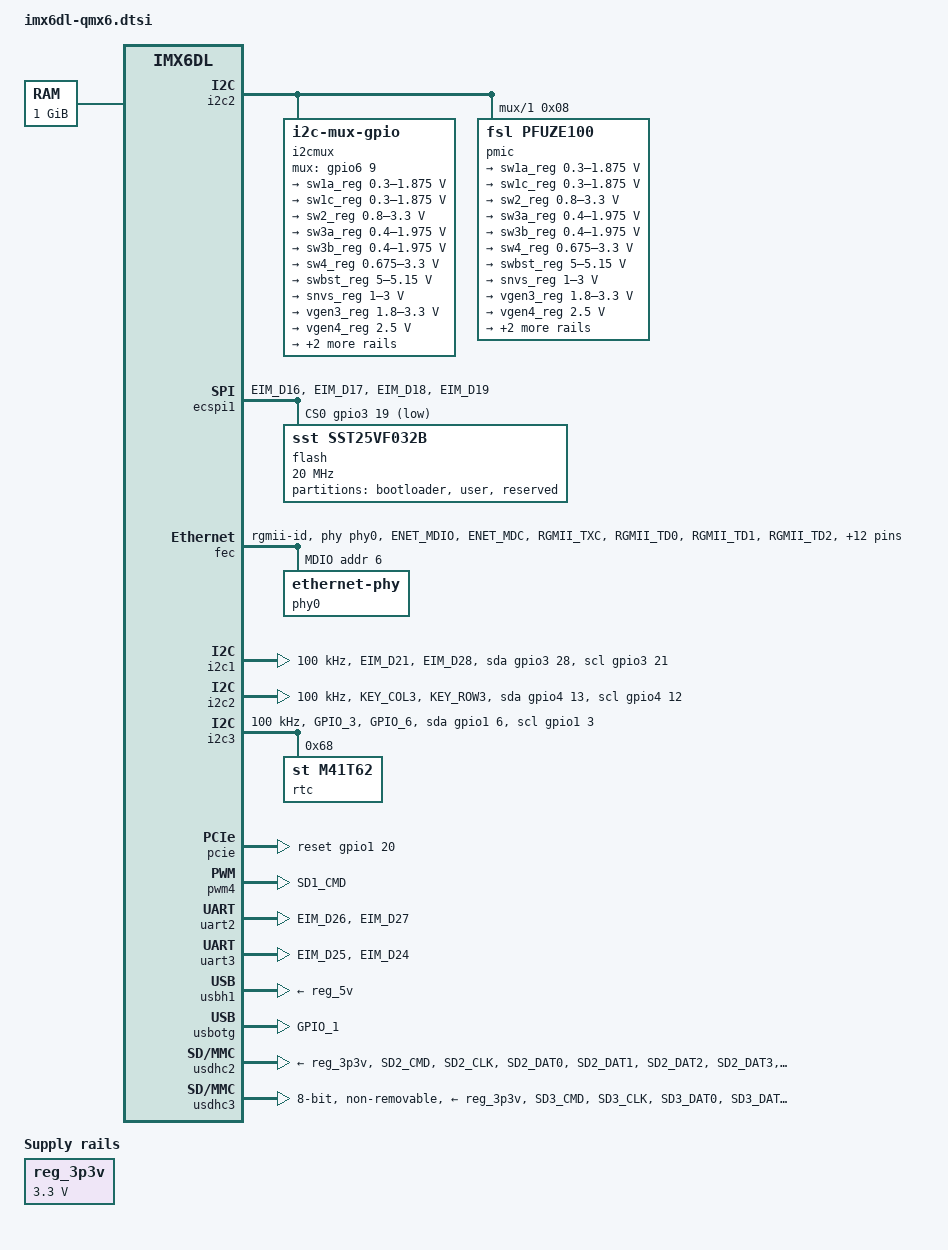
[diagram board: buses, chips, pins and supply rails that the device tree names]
// SPDX-License-Identifier: GPL-2.0 OR MIT
//
// Device Tree Source for i.MX6DL based congatec QMX6
// System on Module
//
// Copyright 2018-2021 General Electric Company
// Copyright 2018-2021 Collabora
// Copyright 2016 congatec AG

#include "imx6dl.dtsi"
#include <dt-bindings/gpio/gpio.h>
#include <dt-bindings/sound/fsl-imx-audmux.h>

/ {
	memory@10000000 {
		reg = <0x10000000 0x40000000>;
	};

	reg_3p3v: 3p3v {
		compatible = "regulator-fixed";
		regulator-name = "3P3V";
		regulator-min-microvolt = <3300000>;
		regulator-max-microvolt = <3300000>;
	};

	i2cmux {
		compatible = "i2c-mux-gpio";
		#address-cells = <1>;
		#size-cells = <0>;
		mux-gpios = <&gpio6 9 GPIO_ACTIVE_HIGH>;
		i2c-parent = <&i2c2>;

		i2c5: i2c@0 {
			reg = <0>;
			#address-cells = <1>;
			#size-cells = <0>;
		};

		i2c6: i2c@1 {
			reg = <1>;
			#address-cells = <1>;
			#size-cells = <0>;
		};
	};
};

&audmux {
	pinctrl-names = "default";
	pinctrl-0 = <&pinctrl_audmux>;

	mux-ssi1 {
		fsl,audmux-port = <MX51_AUDMUX_PORT1_SSI0>;
		fsl,port-config = <
			(IMX_AUDMUX_V2_PTCR_TFSDIR |
			IMX_AUDMUX_V2_PTCR_TFSEL(MX51_AUDMUX_PORT6) |
			IMX_AUDMUX_V2_PTCR_TCLKDIR |
			IMX_AUDMUX_V2_PTCR_TCSEL(MX51_AUDMUX_PORT6) |
			IMX_AUDMUX_V2_PTCR_SYN)
			IMX_AUDMUX_V2_PDCR_RXDSEL(MX51_AUDMUX_PORT6)
		>;
	};

	mux-aud6 {
		fsl,audmux-port = <MX51_AUDMUX_PORT6>;
		fsl,port-config = <
			IMX_AUDMUX_V2_PTCR_SYN
			IMX_AUDMUX_V2_PDCR_RXDSEL(MX51_AUDMUX_PORT1_SSI0)
		>;
	};
};

&clks {
	clocks = <&rtc_sqw>;
	clock-names = "ckil";
	assigned-clocks = <&clks IMX6QDL_CLK_LDB_DI0_SEL>,
			  <&clks IMX6QDL_CLK_LDB_DI1_SEL>;
	assigned-clock-parents = <&clks IMX6QDL_CLK_PLL2_PFD0_352M>,
				 <&clks IMX6QDL_CLK_PLL2_PFD0_352M>;
};

&ecspi1 {
	cs-gpios = <&gpio3 19 GPIO_ACTIVE_LOW>;
	pinctrl-names = "default";
	pinctrl-0 = <&pinctrl_spi1>;
	status = "okay";

	flash@0 {
		#address-cells = <1>;
		#size-cells = <1>;
		compatible = "sst,sst25vf032b", "jedec,spi-nor";
		spi-max-frequency = <20000000>;
		reg = <0>;

		partition@0 {
			label = "bootloader";
			reg = <0x0000000 0x100000>;
		};

		partition@100000 {
			label = "user";
			reg = <0x0100000 0x2fc000>;
		};

		partition@3fc000 {
			label = "reserved";
			reg = <0x03fc000 0x4000>;
			read-only;
		};
	};
};

&fec {
	pinctrl-names = "default";
	pinctrl-0 = <&pinctrl_enet &pinctrl_phy_reset>;
	phy-mode = "rgmii-id";
	phy-reset-gpios = <&gpio3 23 GPIO_ACTIVE_LOW>;
	fsl,magic-packet;
	phy-handle = <&phy0>;

	mdio {
		#address-cells = <1>;
		#size-cells = <0>;

		phy0: ethernet-phy@6 {
			reg = <6>;
			qca,clk-out-frequency = <125000000>;
		};
	};
};

&i2c1 {
	clock-frequency = <100000>;
	pinctrl-names = "default", "gpio";
	pinctrl-0 = <&pinctrl_i2c1>;
	pinctrl-1 = <&pinctrl_i2c1_gpio>;
	scl-gpios = <&gpio3 21 (GPIO_ACTIVE_HIGH | GPIO_OPEN_DRAIN)>;
	sda-gpios = <&gpio3 28 (GPIO_ACTIVE_HIGH | GPIO_OPEN_DRAIN)>;
	status = "okay";
};

&i2c2 {
	clock-frequency = <100000>;
	pinctrl-names = "default", "gpio";
	pinctrl-0 = <&pinctrl_i2c2>;
	pinctrl-1 = <&pinctrl_i2c2_gpio>;
	scl-gpios = <&gpio4 12 (GPIO_ACTIVE_HIGH | GPIO_OPEN_DRAIN)>;
	sda-gpios = <&gpio4 13 (GPIO_ACTIVE_HIGH | GPIO_OPEN_DRAIN)>;
	status = "okay";
};

&i2c3 {
	clock-frequency = <100000>;
	pinctrl-names = "default", "gpio";
	pinctrl-0 = <&pinctrl_i2c3>;
	pinctrl-1 = <&pinctrl_i2c3_gpio>;
	scl-gpios = <&gpio1 3 (GPIO_ACTIVE_HIGH | GPIO_OPEN_DRAIN)>;
	sda-gpios = <&gpio1 6 (GPIO_ACTIVE_HIGH | GPIO_OPEN_DRAIN)>;
	status = "okay";

	rtc: m41t62@68 {
		compatible = "st,m41t62";
		reg = <0x68>;

		rtc_sqw: clock {
			compatible = "fixed-clock";
			#clock-cells = <0>;
			clock-frequency = <32768>;
		};
	};
};

&i2c6 {
	pmic@8 {
		compatible = "fsl,pfuze100";
		reg = <0x08>;

		regulators {
			sw1a_reg: sw1ab {
				regulator-min-microvolt = <300000>;
				regulator-max-microvolt = <1875000>;
				regulator-boot-on;
				regulator-always-on;
				regulator-ramp-delay = <6250>;
			};

			sw1c_reg: sw1c {
				regulator-min-microvolt = <300000>;
				regulator-max-microvolt = <1875000>;
				regulator-boot-on;
				regulator-always-on;
				regulator-ramp-delay = <6250>;
			};

			sw2_reg: sw2 {
				regulator-min-microvolt = <800000>;
				regulator-max-microvolt = <3300000>;
				regulator-boot-on;
				regulator-always-on;
			};

			sw3a_reg: sw3a {
				regulator-min-microvolt = <400000>;
				regulator-max-microvolt = <1975000>;
				regulator-boot-on;
				regulator-always-on;
			};

			sw3b_reg: sw3b {
				regulator-min-microvolt = <400000>;
				regulator-max-microvolt = <1975000>;
				regulator-boot-on;
				regulator-always-on;
			};

			sw4_reg: sw4 {
				regulator-min-microvolt = <675000>;
				regulator-max-microvolt = <3300000>;
				regulator-boot-on;
				regulator-always-on;
			};

			swbst_reg: swbst {
				regulator-min-microvolt = <5000000>;
				regulator-max-microvolt = <5150000>;
			};

			snvs_reg: vsnvs {
				regulator-min-microvolt = <1000000>;
				regulator-max-microvolt = <3000000>;
				regulator-boot-on;
				regulator-always-on;
			};

			vref_reg: vrefddr {
				regulator-boot-on;
				regulator-always-on;
			};

			/*
			 * keep VGEN3, VGEN4 and VGEN5 enabled in order to
			 * maintain backward compatibility with hw-rev. A.0
			 */
			vgen3_reg: vgen3 {
				regulator-min-microvolt = <1800000>;
				regulator-max-microvolt = <3300000>;
				regulator-always-on;
			};

			vgen4_reg: vgen4 {
				regulator-min-microvolt = <2500000>;
				regulator-max-microvolt = <2500000>;
				regulator-always-on;
			};

			vgen5_reg: vgen5 {
				regulator-min-microvolt = <1800000>;
				regulator-max-microvolt = <3300000>;
				regulator-always-on;
			};

			/* supply voltage for eMMC */
			vgen6_reg: vgen6 {
				regulator-min-microvolt = <1800000>;
				regulator-max-microvolt = <1800000>;
				regulator-boot-on;
				regulator-always-on;
			};
		};
	};
};

&pcie {
	reset-gpio = <&gpio1 20 0>;
};

&pwm4 {
	pinctrl-names = "default";
	pinctrl-0 = <&pinctrl_pwm4>;
};

&reg_arm {
	vin-supply = <&sw1a_reg>;
};

&reg_pu {
	vin-supply = <&sw1c_reg>;
};

&reg_soc {
	vin-supply = <&sw1c_reg>;
};

&snvs_poweroff {
	status = "okay";
};

&uart2 {
	pinctrl-names = "default";
	pinctrl-0 = <&pinctrl_uart2>;
	status = "okay";
};

&uart3 {
	pinctrl-names = "default";
	pinctrl-0 = <&pinctrl_uart3>;
	status = "okay";
};

&usbh1 {
	/* Connected to USB-Hub SMSC USB2514, provides P0, P2, P3, P4 on Qseven connector */
	vbus-supply = <&reg_5v>;
	status = "okay";
};

&usbotg {
	pinctrl-names = "default";
	pinctrl-0 = <&pinctrl_usbotg>;
};

&usdhc2 {
	/* MicroSD card slot */
	pinctrl-names = "default";
	pinctrl-0 = <&pinctrl_usdhc2>;
	cd-gpios = <&gpio1 4 GPIO_ACTIVE_LOW>;
	no-1-8-v;
	keep-power-in-suspend;
	wakeup-source;
	vmmc-supply = <&reg_3p3v>;
	status = "okay";
};

&usdhc3 {
	/* eMMC module */
	pinctrl-names = "default";
	pinctrl-0 = <&pinctrl_usdhc3>;
	non-removable;
	bus-width = <8>;
	no-1-8-v;
	keep-power-in-suspend;
	wakeup-source;
	vmmc-supply = <&reg_3p3v>;
	status = "okay";
};

&wdog1 {
	pinctrl-names = "default";
	pinctrl-0 = <&pinctrl_wdog>;
	fsl,ext-reset-output;
};

&iomuxc {
	pinctrl-names = "default";
	pinctrl-0 = <&pinctrl_hog>;

	qmx6mux: imx6qdl-qmx6 {
		pinctrl_audmux: audmuxgrp {
			fsl,pins = <
				MX6QDL_PAD_DI0_PIN2__AUD6_TXD		0x110b0 /* Q7[67] HDA_SDO */
				MX6QDL_PAD_DI0_PIN3__AUD6_TXFS		0x30b0 /* Q7[59] HDA_SYNC */
				MX6QDL_PAD_DI0_PIN4__AUD6_RXD		0x30b0 /* Q7[65] HDA_SDI */
				MX6QDL_PAD_DI0_PIN15__AUD6_TXC		0x30b0 /* Q7[63] HDA_BITCLK */
			>;
		};

		/* PHY is on System on Module, Q7[3-15] have Ethernet lines */
		pinctrl_enet: enet {
			fsl,pins = <
				MX6QDL_PAD_ENET_MDIO__ENET_MDIO		0x1b0b0
				MX6QDL_PAD_ENET_MDC__ENET_MDC		0x1b0b0
				MX6QDL_PAD_RGMII_TXC__RGMII_TXC		0x1b030
				MX6QDL_PAD_RGMII_TD0__RGMII_TD0		0x1b030
				MX6QDL_PAD_RGMII_TD1__RGMII_TD1		0x1b030
				MX6QDL_PAD_RGMII_TD2__RGMII_TD2		0x1b030
				MX6QDL_PAD_RGMII_TD3__RGMII_TD3		0x1b030
				MX6QDL_PAD_RGMII_TX_CTL__RGMII_TX_CTL	0x1b030
				MX6QDL_PAD_ENET_REF_CLK__ENET_TX_CLK	0x1b0b0
				MX6QDL_PAD_RGMII_RXC__RGMII_RXC		0x1b030
				MX6QDL_PAD_RGMII_RD0__RGMII_RD0		0x1b030
				MX6QDL_PAD_RGMII_RD1__RGMII_RD1		0x1b030
				MX6QDL_PAD_RGMII_RD2__RGMII_RD2		0x1b030
				MX6QDL_PAD_RGMII_RD3__RGMII_RD3		0x1b030
				MX6QDL_PAD_RGMII_RX_CTL__RGMII_RX_CTL	0x1b030
				MX6QDL_PAD_ENET_TX_EN__ENET_TX_EN	0x1b0b0
			>;
		};

		pinctrl_hog: hoggrp {
			fsl,pins = <
				MX6QDL_PAD_GPIO_2__GPIO1_IO02		0x80000000 /* PCIE_WAKE_B */
				MX6QDL_PAD_NANDF_WP_B__GPIO6_IO09	0x80000000 /* I2C multiplexer */
				MX6QDL_PAD_NANDF_D6__GPIO2_IO06		0x80000000 /* SD4_CD# */
				MX6QDL_PAD_NANDF_D7__GPIO2_IO07		0x80000000 /* SD4_WP */
				MX6QDL_PAD_CSI0_MCLK__CCM_CLKO1		0x80000000 /* Camera MCLK */
			>;
		};

		pinctrl_i2c1: i2c1 {
			fsl,pins = <
				MX6QDL_PAD_EIM_D21__I2C1_SCL		0x4001b8b1 /* Q7[66] I2C_CLK */
				MX6QDL_PAD_EIM_D28__I2C1_SDA		0x4001b8b1 /* Q7[68] I2C_DAT */
			>;
		};

		pinctrl_i2c1_gpio: i2c1-gpio {
			fsl,pins = <
				MX6QDL_PAD_EIM_D21__GPIO3_IO21		0x1b0b0 /* Q7[66] I2C_CLK */
				MX6QDL_PAD_EIM_D28__GPIO3_IO28		0x1b0b0 /* Q7[68] I2C_DAT */
			>;
		};

		pinctrl_i2c2: i2c2 {
			fsl,pins = <
				MX6QDL_PAD_KEY_COL3__I2C2_SCL		0x4001b8b1 /* Q7[152] SDVO_CTRL_CLK */
				MX6QDL_PAD_KEY_ROW3__I2C2_SDA		0x4001b8b1 /* Q7[150] SDVO_CTRL_DAT */
			>;
		};

		pinctrl_i2c2_gpio: i2c2-gpio {
			fsl,pins = <
				MX6QDL_PAD_KEY_COL3__GPIO4_IO12		0x1b0b0 /* Q7[152] SDVO_CTRL_CLK */
				MX6QDL_PAD_KEY_ROW3__GPIO4_IO13		0x1b0b0 /* Q7[150] SDVO_CTRL_DAT */
			>;
		};

		pinctrl_i2c3: i2c3 {
			fsl,pins = <
				MX6QDL_PAD_GPIO_3__I2C3_SCL		0x4001b8b1 /* Q7[60] SMB_CLK */
				MX6QDL_PAD_GPIO_6__I2C3_SDA		0x4001b8b1 /* Q7[62] SMB_DAT */
			>;
		};

		pinctrl_i2c3_gpio: i2c3-gpio {
			fsl,pins = <
				MX6QDL_PAD_GPIO_3__GPIO1_IO03		0x1b0b0 /* Q7[60] SMB_CLK */
				MX6QDL_PAD_GPIO_6__GPIO1_IO06		0x1b0b0 /* Q7[62] SMB_DAT */
			>;
		};

		pinctrl_phy_reset: phy-reset {
			fsl,pins = <
				MX6QDL_PAD_EIM_D23__GPIO3_IO23		0x1b0b0 /* RGMII Phy Reset */
			>;
		};

		pinctrl_pwm4: pwm4 {
			fsl,pins = <
				MX6QDL_PAD_SD1_CMD__PWM4_OUT		0x1b0b1 /* Q7[123] LVDS_BLT_CTRL */
			>;
		};

		pinctrl_q7_backlight_enable: q7-backlight-enable {
			fsl,pins = <
				MX6QDL_PAD_GPIO_9__GPIO1_IO09		0x1b0b0 /* Q7[112] LVDS_BLEN */
			>;
		};

		pinctrl_q7_gpio0: q7-gpio0 {
			fsl,pins = <
				MX6QDL_PAD_EIM_A25__GPIO5_IO02		0x1b0b0 /* Q7[185] GPIO0 */
			>;
		};

		pinctrl_q7_gpio1: q7-gpio1 {
			fsl,pins = <
				MX6QDL_PAD_GPIO_8__GPIO1_IO08		0x1b0b0 /* Q7[186] GPIO1 */
			>;
		};

		pinctrl_q7_gpio2: q7-gpio2 {
			fsl,pins = <
				MX6QDL_PAD_DISP0_DAT5__GPIO4_IO26	0x1b0b0 /* Q7[187] GPIO2 */
			>;
		};

		pinctrl_q7_gpio3: q7-gpio3 {
			fsl,pins = <
				MX6QDL_PAD_DISP0_DAT6__GPIO4_IO27	0x1b0b0 /* Q7[188] GPIO3 */
			>;
		};

		pinctrl_q7_gpio4: q7-gpio4 {
			fsl,pins = <
				MX6QDL_PAD_GPIO_0__GPIO1_IO00		0x1b0b0 /* Q7[189] GPIO4 */
			>;
		};

		pinctrl_q7_gpio5: q7-gpio5 {
			fsl,pins = <
				MX6QDL_PAD_KEY_ROW4__GPIO4_IO15		0x1b0b0 /* Q7[190] GPIO5 */
			>;
		};

		pinctrl_q7_gpio6: q7-gpio6 {
			fsl,pins = <
				MX6QDL_PAD_GPIO_16__GPIO7_IO11		0x1b0b0 /* Q7[191] GPIO6 */
			>;
		};

		pinctrl_q7_gpio7: q7-gpio7 {
			fsl,pins = <
				MX6QDL_PAD_KEY_COL4__GPIO4_IO14		0x1b0b0 /* Q7[192] GPIO7 */
			>;
		};

		pinctrl_q7_hda_reset: q7-hda-reset {
			fsl,pins = <
				MX6QDL_PAD_NANDF_ALE__GPIO6_IO08	0x1b0b0 /* Q7[61] HDA_RST_N */
			>;
		};

		pinctrl_q7_lcd_power: lcd-power {
			fsl,pins = <
				MX6QDL_PAD_GPIO_7__GPIO1_IO07		0x1b0b0 /* Q7[111] LVDS_PPEN */
			>;
		};

		pinctrl_q7_sdio_power: q7-sdio-power {
			fsl,pins = <
				MX6QDL_PAD_DISP0_DAT9__GPIO4_IO30	0x1b0b0 /* Q7[47] SDIO_PWR# */
			>;
		};

		pinctrl_q7_sleep_button: q7-sleep-button {
			fsl,pins = <
				MX6QDL_PAD_KEY_ROW0__GPIO4_IO07		0x1b0b0 /* Q7[21] SLP_BTN# */
			>;
		};

		pinctrl_q7_spi_cs1: spi-cs1 {
			fsl,pins = <
				MX6QDL_PAD_DISP0_DAT4__GPIO4_IO25	0x1b0b0 /* Q7[202] SPI_CS1# */
			>;
		};

		/* SPI1 bus does not leave System on Module */
		pinctrl_spi1: spi1 {
			fsl,pins = <
				MX6QDL_PAD_EIM_D16__ECSPI1_SCLK		0x100b1
				MX6QDL_PAD_EIM_D17__ECSPI1_MISO		0x100b1
				MX6QDL_PAD_EIM_D18__ECSPI1_MOSI		0x100b1
				MX6QDL_PAD_EIM_D19__GPIO3_IO19		0x1b0b0
			>;
		};

		/* Debug connector on Q7 module */
		pinctrl_uart2: uart2 {
			fsl,pins = <
				MX6QDL_PAD_EIM_D26__UART2_TX_DATA	0x1b0b1
				MX6QDL_PAD_EIM_D27__UART2_RX_DATA	0x1b0b1
			>;
		};

		pinctrl_uart3: uart3 {
			fsl,pins = <
				MX6QDL_PAD_EIM_D25__UART3_RX_DATA	0x1b0b1 /* Q7[177] UART0_RX */
				MX6QDL_PAD_EIM_D24__UART3_TX_DATA	0x1b0b1 /* Q7[171] UART0_TX */
			>;
		};

		pinctrl_usbotg: usbotg {
			fsl,pins = <
				MX6QDL_PAD_GPIO_1__USB_OTG_ID		0x17059 /* Q7[92] USB_ID */
			>;
		};

		/* µSD card slot on Q7 module */
		pinctrl_usdhc2: usdhc2 {
			fsl,pins = <
				MX6QDL_PAD_SD2_CMD__SD2_CMD		0x17059
				MX6QDL_PAD_SD2_CLK__SD2_CLK		0x10059
				MX6QDL_PAD_SD2_DAT0__SD2_DATA0		0x17059
				MX6QDL_PAD_SD2_DAT1__SD2_DATA1		0x17059
				MX6QDL_PAD_SD2_DAT2__SD2_DATA2		0x17059
				MX6QDL_PAD_SD2_DAT3__SD2_DATA3		0x17059
				MX6QDL_PAD_GPIO_4__GPIO1_IO04		0x1b0b0 /* SD2_CD */
			>;
		};

		/* eMMC module on Q7 module */
		pinctrl_usdhc3: usdhc3 {
			fsl,pins = <
				MX6QDL_PAD_SD3_CMD__SD3_CMD		0x17059
				MX6QDL_PAD_SD3_CLK__SD3_CLK		0x10059
				MX6QDL_PAD_SD3_DAT0__SD3_DATA0		0x17059
				MX6QDL_PAD_SD3_DAT1__SD3_DATA1		0x17059
				MX6QDL_PAD_SD3_DAT2__SD3_DATA2		0x17059
				MX6QDL_PAD_SD3_DAT3__SD3_DATA3		0x17059
				MX6QDL_PAD_SD3_DAT4__SD3_DATA4		0x17059
				MX6QDL_PAD_SD3_DAT5__SD3_DATA5		0x17059
				MX6QDL_PAD_SD3_DAT6__SD3_DATA6		0x17059
				MX6QDL_PAD_SD3_DAT7__SD3_DATA7		0x17059
			>;
		};

		pinctrl_usdhc4: usdhc4 {
			fsl,pins = <
				MX6QDL_PAD_SD4_CMD__SD4_CMD		0x17059 /* Q7[45] SDIO_CMD */
				MX6QDL_PAD_SD4_CLK__SD4_CLK		0x17059 /* Q7[42] SDIO_CLK */
				MX6QDL_PAD_SD4_DAT1__SD4_DATA1		0x17059 /* Q7[48] SDIO_DAT1 */
				MX6QDL_PAD_SD4_DAT0__SD4_DATA0		0x17059 /* Q7[49] SDIO_DAT0 */
				MX6QDL_PAD_SD4_DAT3__SD4_DATA3		0x17059 /* Q7[50] SDIO_DAT3 */
				MX6QDL_PAD_SD4_DAT2__SD4_DATA2		0x17059 /* Q7[51] SDIO_DAT2 */
			>;
		};

		pinctrl_wdog: wdog {
			fsl,pins = <
				MX6QDL_PAD_DISP0_DAT8__WDOG1_B		0x1b0b0 /* Watchdog output signal */
			>;
		};
	};
};
